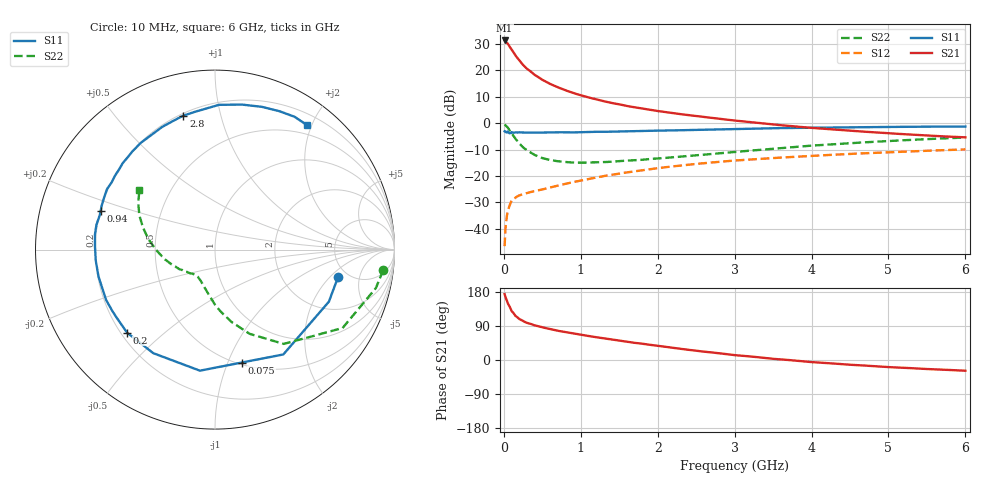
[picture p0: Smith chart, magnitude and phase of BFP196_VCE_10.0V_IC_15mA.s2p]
! Infineon Technologies  Discrete & RF Semiconductors
! BFP196
! VCE = 10.0V,  IC =  15mA
! Common Emitter S-Parameters:  Jan 2016
# GHz  S  MA  R  50
!  f  S11  S21  S12  S22
! GHz  MAG  ANG  MAG  ANG  MAG  ANG  MAG  ANG
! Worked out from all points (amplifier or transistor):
!   210 points, 10 MHz to 6 GHz, reference 50 ohm
!   highest |S21| = 31.3 dB at 10 MHz (marker M1)
!   |S21| within 3 dB of that: start of sweep to 90.42 MHz
!   unconditionally stable (mu >= 1): 824 MHz to 3.493 GHz; 3.519 GHz to 3.932 GHz
!   at 185 MHz: K = 0.37, MSG = 26.0 dB, |S12| = -27.6 dB
!   at 1.52 GHz: K = 1.12, MAG = 10.9 dB, |S12| = -19.0 dB
!   at 6 GHz: K = 0.96, MSG = 2.3 dB, |S12| = -9.9 dB
!   S11 on the Smith chart (normalised r, x): 10 MHz: 4.16, -2.50; 75 MHz: 0.52, -1.12; 200 MHz: 0.22, -0.38; 940 MHz: 0.20, +0.16; 2.8 GHz: 0.21, +0.77; 6 GHz: 0.36, +1.94
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0.01  0.7027 -12.5  36.89 173.9  0.0047 83.0  0.944 -7.0
0.02  0.6977 -24.6  35.64 166.5  0.0096 74.0  0.9214 -13.5
0.05  0.6973 -56.9  32.24 149.9  0.0215 62.7  0.8342 -31.6
0.075  0.6466 -76.7  28.19 141.0  0.0276 54.4  0.7285 -41.4
0.1  0.6798 -97.1  25.03 129.4  0.0341 49.1  0.6503 -53.9
0.15  0.6718 -120.8  19.18 116.6  0.0391 42.0  0.5077 -67.6
0.2  0.6739 -136.6  15.44 108.3  0.043 39.1  0.4147 -77.0
0.24  0.6664 -145.5  13.19 103.6  0.0448 38.0  0.3607 -82.9
0.3  0.6685 -155.1  10.76 98.0  0.0477 37.6  0.3077 -89.9
0.4  0.6662 -167.0  8.248 91.4  0.0519 38.2  0.251 -98.4
0.5  0.6672 -174.8  6.634 86.1  0.0557 40.4  0.2189 -105.2
0.6  0.6689 178.4  5.56 81.4  0.0606 42.1  0.2012 -110.6
0.7  0.6743 172.8  4.798 77.1  0.0655 43.9  0.1906 -114.9
0.94  0.6724 161.5  3.593 68.7  0.0789 46.3  0.1792 -122.9
1.02  0.6782 157.9  3.317 65.9  0.0832 46.6  0.1789 -125.2
1.4  0.6929 143.5  2.418 54.2  0.1051 47.0  0.1867 -134.1
2.02  0.7246 124.3  1.687 36.9  0.1422 43.7  0.2156 -148.2
2.8  0.7669 103.3  1.216 17.7  0.1857 36.3  0.2693 -165.5
3.1  0.7797 96.4  1.086 11.2  0.2009 32.9  0.2938 -171.7
4.1  0.8239 77.9  0.796 -6.8  0.245 22.0  0.3844 169.2
5.1  0.8522 63.9  0.633 -19.6  0.2855 11.3  0.4685 154.4
6  0.8628 53.4  0.54 -28.3  0.3195 1.3  0.5362 141.8
